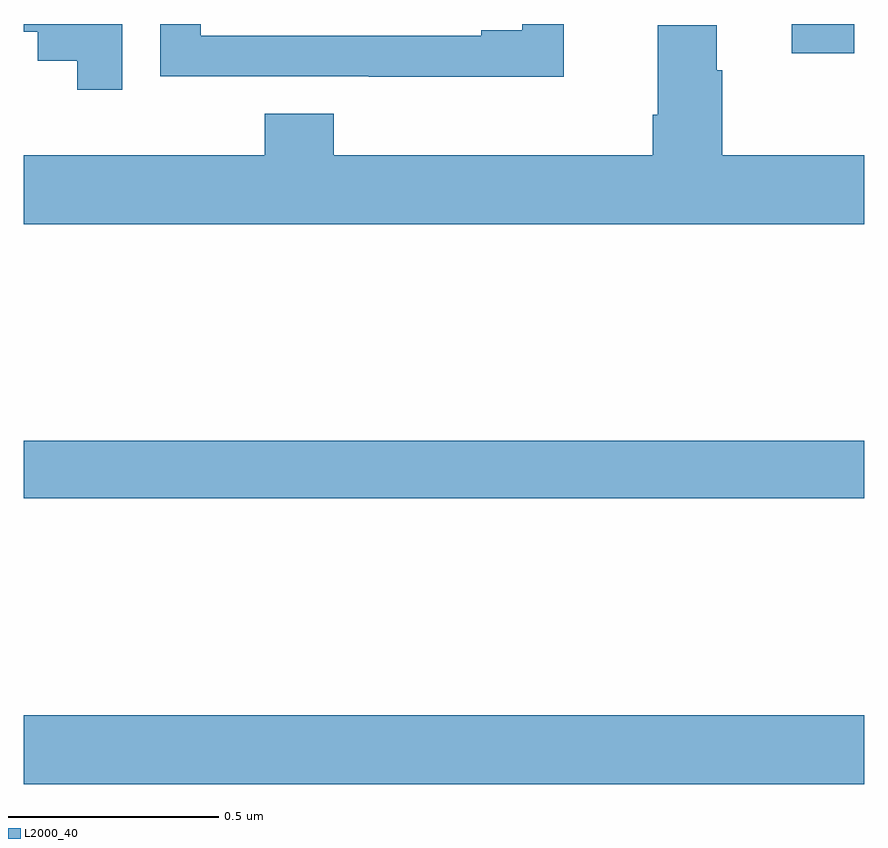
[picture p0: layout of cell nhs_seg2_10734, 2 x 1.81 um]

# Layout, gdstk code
import gdstk
lib = gdstk.Library(unit=1e-6, precision=1e-09)
def R(c, l, rs):  # rectangles x0, y0, x1, y1
    for r in rs: c.add(gdstk.rectangle(r[:2], r[2:], *l))
def P(c, l, *ps):  # polygons
    for p in ps: c.add(gdstk.Polygon(p, *l))
L2000_40 = (2000, 40)

nhs_seg2_10734 = lib.new_cell('nhs_seg2_10734')
R(nhs_seg2_10734, L2000_40, [(245,624.992,247,625.156), (245,625.672,247,625.808), (246.827,626.73,246.976,626.8)])
P(nhs_seg2_10734, L2000_40, [(245.235,626.8),(245,626.8),(245,626.781),(245.034,626.781),(245.034,626.713),(245.127,626.713),(245.127,626.643),(245.235,626.643)],
  [(246.285,626.8),(246.186,626.8),(246.186,626.785),(246.089,626.785),(246.089,626.772),(245.421,626.772),(245.421,626.8),(245.325,626.8),(245.325,626.676),(245.821,626.676),(245.821,626.675),(246.285,626.675)],
  [(247,626.488),(246.662,626.488),(246.662,626.69),(246.649,626.69),(246.649,626.797),(246.509,626.797),(246.509,626.584),(246.497,626.584),(246.497,626.488),(245.738,626.488),(245.738,626.587),(245.573,626.587),(245.573,626.488),(245,626.488),(245,626.324),(247,626.324)])

lib.write_gds('nhs_seg2_10734.gds')
